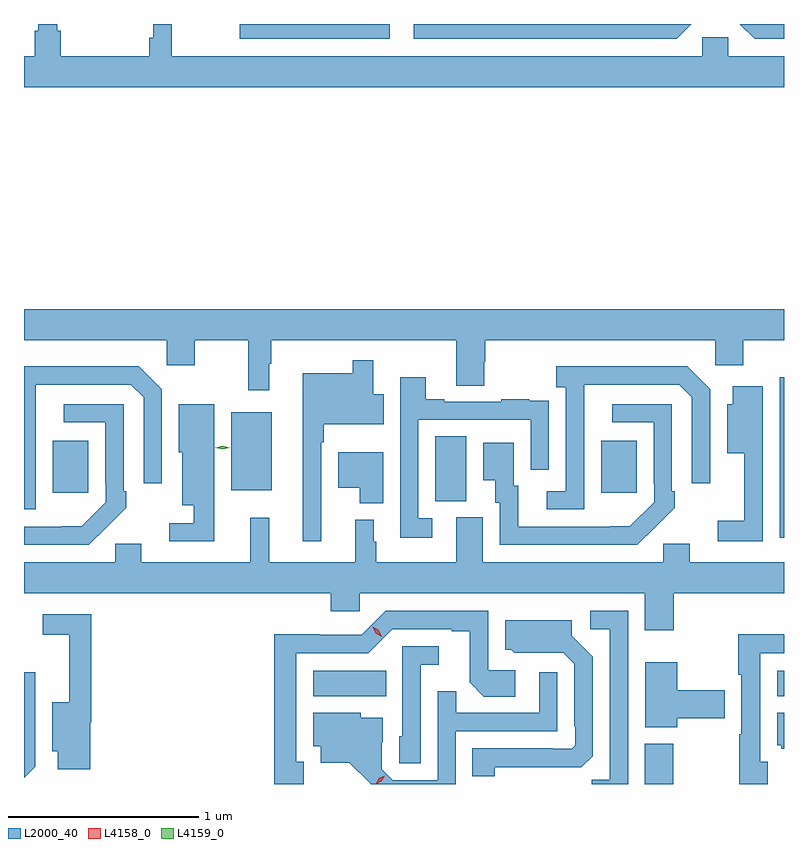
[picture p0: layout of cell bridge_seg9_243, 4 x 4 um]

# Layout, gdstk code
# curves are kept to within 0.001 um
import gdstk
lib = gdstk.Library(unit=1e-6, precision=1e-09)
def R(c, l, rs):  # rectangles x0, y0, x1, y1
    for r in rs: c.add(gdstk.rectangle(r[:2], r[2:], *l))
def P(c, l, *ps):  # polygons
    for p in ps: c.add(gdstk.Polygon(p, *l))
L2000_40 = (2000, 40)
L4158_0 = (4158, 0)
L4159_0 = (4159, 0)

bridge_seg9_243 = lib.new_cell('bridge_seg9_243')
R(bridge_seg9_243, L2000_40, [(294.074,1202.077,294.222,1202.29), (292.328,1202.54,292.712,1202.674), (294.77,1202.54,294.806,1202.674), (294.783,1203.372,294.806,1204.219), (292.97,1203.565,293.134,1203.908), (290.957,1203.609,291.145,1203.883), (293.843,1203.609,294.031,1203.883), (291.896,1203.623,292.111,1204.033), (291.942,1206,292.732,1206.077)])
P(bridge_seg9_243, L2000_40, [(294.806,1206.077),(294.574,1206.077),(294.651,1206),(294.806,1206)],
  [(294.318,1206.077),(292.856,1206.077),(292.856,1206),(294.241,1206)],
  [(294.806,1205.908),(294.513,1205.908),(294.513,1206.006),(294.375,1206.006),(294.375,1205.908),(291.584,1205.908),(291.584,1206.077),(291.486,1206.077),(291.486,1206.004),(291.466,1206.004),(291.466,1205.908),(290.999,1205.908),(290.999,1206.042),(290.98,1206.042),(290.98,1206.077),(290.882,1206.077),(290.882,1206.042),(290.863,1206.042),(290.863,1205.908),(290.806,1205.908),(290.806,1205.744),(294.806,1205.744)],
  [(292.096,1204.289),(292.108,1204.289),(292.108,1204.412),(293.081,1204.412),(293.081,1204.174),(293.229,1204.174),(293.229,1204.299),(293.234,1204.299),(293.234,1204.412),(294.444,1204.412),(294.444,1204.281),(294.591,1204.281),(294.591,1204.412),(294.806,1204.412),(294.806,1204.576),(290.806,1204.576),(290.806,1204.412),(291.558,1204.412),(291.558,1204.281),(291.705,1204.281),(291.705,1204.412),(291.987,1204.412),(291.987,1204.149),(292.096,1204.149)],
  [(292.371,1203.875),(292.384,1203.875),(292.384,1203.971),(292.699,1203.971),(292.699,1204.129),(292.645,1204.129),(292.645,1204.306),(292.536,1204.306),(292.536,1204.24),(292.274,1204.24),(292.274,1203.354),(292.371,1203.354)],
  [(293.754,1203.979),(293.755,1204.179),(294.255,1204.179),(294.321,1204.113),(294.321,1203.66),(294.417,1203.66),(294.417,1204.155),(294.296,1204.276),(293.607,1204.276),(293.607,1204.166),(293.658,1204.166),(293.658,1203.618),(293.556,1203.618),(293.556,1203.522),(293.754,1203.522)],
  [(290.868,1203.979),(290.869,1203.979),(290.869,1204.179),(291.369,1204.179),(291.435,1204.113),(291.435,1203.66),(291.531,1203.66),(291.531,1204.155),(291.41,1204.276),(290.806,1204.276),(290.806,1203.522),(290.868,1203.522)],
  [(292.954,1203.477),(292.881,1203.477),(292.881,1203.993),(293.472,1203.993),(293.472,1203.732),(293.568,1203.732),(293.568,1203.986),(293.567,1203.986),(293.567,1204.095),(293.465,1204.095),(293.465,1204.102),(293.317,1204.102),(293.317,1204.089),(293.017,1204.089),(293.017,1204.102),(292.921,1204.102),(292.921,1204.219),(292.785,1204.219),(292.785,1203.372),(292.954,1203.372)],
  [(294.693,1203.922),(294.694,1203.922),(294.694,1204.171),(294.536,1204.171),(294.536,1204.075),(294.506,1204.075),(294.506,1203.818),(294.596,1203.818),(294.596,1203.463),(294.456,1203.463),(294.456,1203.354),(294.693,1203.354)],
  [(291.239,1203.427),(291.24,1203.426),(291.345,1203.531),(291.345,1203.619),(291.33,1203.619),(291.33,1204.077),(291.015,1204.077),(291.015,1203.981),(291.234,1203.981),(291.234,1203.661),(291.237,1203.661),(291.237,1203.561),(291.109,1203.433),(290.806,1203.432),(290.806,1203.336),(291.148,1203.336)],
  [(294.125,1203.427),(294.126,1203.426),(294.231,1203.531),(294.231,1203.619),(294.216,1203.619),(294.216,1204.077),(293.901,1204.077),(293.901,1203.981),(294.12,1203.981),(294.12,1203.661),(294.123,1203.661),(294.123,1203.561),(293.995,1203.433),(293.407,1203.432),(293.407,1203.648),(293.383,1203.648),(293.383,1203.874),(293.222,1203.874),(293.222,1203.677),(293.285,1203.677),(293.285,1203.558),(293.31,1203.558),(293.31,1203.336),(294.034,1203.336)],
  [(291.807,1203.627),(291.808,1203.627),(291.808,1204.075),(291.62,1204.075),(291.62,1203.822),(291.638,1203.822),(291.638,1203.545),(291.699,1203.545),(291.699,1203.45),(291.57,1203.45),(291.57,1203.354),(291.807,1203.354)],
  [(292.696,1203.823),(292.46,1203.823),(292.46,1203.635),(292.574,1203.635),(292.574,1203.554),(292.696,1203.554)],
  [(294.227,1203.08),(294.806,1203.08),(294.806,1203.244),(294.31,1203.244),(294.31,1203.342),(294.171,1203.342),(294.171,1203.244),(293.221,1203.244),(293.221,1203.48),(293.081,1203.48),(293.081,1203.244),(292.66,1203.244),(292.66,1203.351),(292.648,1203.351),(292.648,1203.469),(292.55,1203.469),(292.55,1203.244),(292.097,1203.244),(292.097,1203.478),(291.998,1203.478),(291.998,1203.244),(291.424,1203.244),(291.424,1203.342),(291.285,1203.342),(291.285,1203.244),(290.806,1203.244),(290.806,1203.08),(292.421,1203.08),(292.421,1202.987),(292.572,1202.987),(292.572,1203.08),(294.074,1203.08),(294.074,1202.886),(294.227,1202.886)],
  [(293.985,1202.988),(293.787,1202.988),(293.787,1202.892),(293.889,1202.892),(293.889,1202.099),(293.794,1202.099),(293.794,1202.077),(293.985,1202.077)],
  [(292.279,1202.193),(292.24,1202.193),(292.24,1202.766),(292.617,1202.766),(292.743,1202.892),(293.057,1202.892),(293.057,1202.88),(293.151,1202.88),(293.151,1202.612),(293.227,1202.536),(293.392,1202.536),(293.392,1202.676),(293.25,1202.676),(293.25,1202.988),(292.71,1202.988),(292.584,1202.862),(292.362,1202.862),(292.362,1202.864),(292.122,1202.864),(292.122,1202.077),(292.279,1202.077)],
  [(291.155,1202.402),(291.161,1202.402),(291.161,1202.97),(290.904,1202.97),(290.904,1202.862),(291.044,1202.862),(291.044,1202.506),(290.954,1202.506),(290.954,1202.249),(290.984,1202.249),(290.984,1202.154),(291.155,1202.154)],
  [(293.283,1202.164),(293.74,1202.165),(293.799,1202.224),(293.799,1202.746),(293.689,1202.856),(293.689,1202.938),(293.339,1202.938),(293.339,1202.784),(293.37,1202.784),(293.386,1202.768),(293.643,1202.769),(293.703,1202.709),(293.703,1202.38),(293.706,1202.38),(293.706,1202.28),(293.688,1202.262),(293.588,1202.262),(293.588,1202.265),(293.164,1202.265),(293.164,1202.118),(293.283,1202.118)],
  [(294.721,1202.193),(294.682,1202.193),(294.682,1202.766),(294.806,1202.766),(294.806,1202.862),(294.804,1202.862),(294.804,1202.864),(294.564,1202.864),(294.564,1202.653),(294.581,1202.653),(294.581,1202.339),(294.571,1202.339),(294.571,1202.077),(294.721,1202.077)],
  [(292.893,1202.705),(292.99,1202.705),(292.99,1202.802),(292.797,1202.802),(292.797,1202.328),(292.782,1202.328),(292.782,1202.185),(292.893,1202.185)],
  [(294.244,1202.423),(294.493,1202.423),(294.493,1202.57),(294.244,1202.57),(294.244,1202.719),(294.077,1202.719),(294.077,1202.375),(294.244,1202.375)],
  [(290.865,1202.169),(290.865,1202.665),(290.806,1202.665),(290.806,1202.11)],
  [(293.079,1202.355),(293.613,1202.355),(293.613,1202.665),(293.517,1202.665),(293.517,1202.451),(293.081,1202.451),(293.081,1202.564),(292.983,1202.564),(292.983,1202.097),(292.746,1202.097),(292.689,1202.154),(292.689,1202.296),(292.693,1202.296),(292.693,1202.425),(292.578,1202.425),(292.578,1202.452),(292.328,1202.452),(292.328,1202.276),(292.367,1202.276),(292.367,1202.189),(292.519,1202.189),(292.632,1202.077),(293.079,1202.077)],
  [(294.806,1202.452),(294.77,1202.452),(294.77,1202.28),(294.792,1202.28),(294.792,1202.262),(294.806,1202.262)])
P(bridge_seg9_243, L4158_0, [(292.656,1202.077),(292.656,1202.077),(292.674,1202.107),(292.705,1202.121),(292.705,1202.121),(292.705,1202.121),(292.687,1202.092),(292.657,1202.077)],
  [(292.689,1202.852),(292.658,1202.871),(292.641,1202.904),(292.641,1202.904),(292.641,1202.904),(292.672,1202.885),(292.69,1202.852),(292.69,1202.852)])
P(bridge_seg9_243, L4159_0, [(291.851,1203.838),(291.813,1203.848),(291.813,1203.848),(291.813,1203.848),(291.852,1203.858),(291.89,1203.847),(291.89,1203.847),(291.89,1203.847)])

lib.write_gds('bridge_seg9_243.gds')
